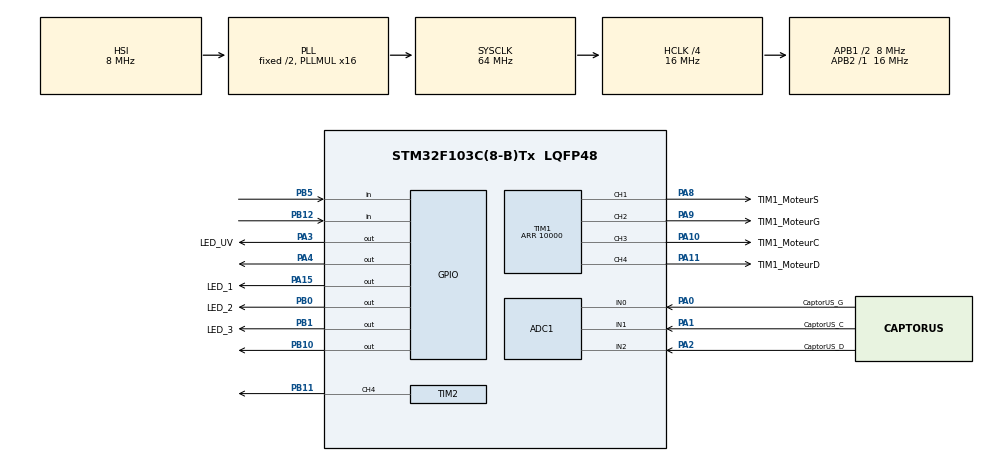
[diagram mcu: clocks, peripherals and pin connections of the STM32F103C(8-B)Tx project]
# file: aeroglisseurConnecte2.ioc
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ADC1.Channel-2\#ChannelRegularConversion=ADC_CHANNEL_0
ADC1.ContinuousConvMode=ENABLE
ADC1.NbrOfConversion=2
ADC1.NbrOfConversionFlag=1
ADC1.Rank-2\#ChannelRegularConversion=2
ADC1.SamplingTime-0\#ChannelRegularConversion=ADC_SAMPLETIME_239CYCLES_5
ADC1.SamplingTime-2\#ChannelRegularConversion=ADC_SAMPLETIME_239CYCLES_5
ADC1.master=1
Dma.ADC1.0.Direction=DMA_PERIPH_TO_MEMORY
Dma.ADC1.0.Instance=DMA1_Channel1
Dma.ADC1.0.MemDataAlignment=DMA_MDATAALIGN_WORD
Dma.ADC1.0.MemInc=DMA_MINC_ENABLE
Dma.ADC1.0.Mode=DMA_CIRCULAR
Dma.ADC1.0.PeriphDataAlignment=DMA_PDATAALIGN_WORD
Dma.ADC1.0.PeriphInc=DMA_PINC_DISABLE
Dma.ADC1.0.Priority=DMA_PRIORITY_LOW
Dma.Request0=ADC1
Mcu.Family=STM32F1
Mcu.Name=STM32F103C(8-B)Tx
Mcu.Package=LQFP48
NVIC.DMA1_Channel1_IRQn=true\:0\:0\:false\:false\:true\:false
NVIC.PriorityGroup=NVIC_PRIORITYGROUP_4
PA0-WKUP.GPIO_Label=CaptorUS_G
PA0-WKUP.GPIO_Mode=GPIO_MODE_ANALOG
PA0-WKUP.Signal=ADCx_IN0
PA1.GPIO_Label=CaptorUS_C
PA1.GPIO_Mode=GPIO_MODE_ANALOG
PA1.Signal=ADCx_IN1
PA10.GPIO_Label=TIM1_MoteurC
PA10.GPIO_ModeDefaultPP=GPIO_MODE_AF_PP
PA10.GPIO_Speed=GPIO_SPEED_FREQ_LOW
PA10.Signal=S_TIM1_CH3
PA11.GPIO_Label=TIM1_MoteurD
PA11.GPIO_ModeDefaultPP=GPIO_MODE_AF_PP
PA11.GPIO_Speed=GPIO_SPEED_FREQ_LOW
PA11.Signal=S_TIM1_CH4
PA13.Mode=Serial_Wire
PA13.Signal=SYS_JTMS-SWDIO
PA14.Mode=Serial_Wire
PA14.Signal=SYS_JTCK-SWCLK
PA15.GPIO_Label=LED_1
PA15.GPIO_ModeDefaultOutputPP=GPIO_MODE_OUTPUT_PP
PA15.GPIO_Speed=GPIO_SPEED_FREQ_LOW
PA15.PinState=GPIO_PIN_RESET
PA15.Signal=GPIO_Output
PA2.GPIO_Label=CaptorUS_D
PA2.GPIO_Mode=GPIO_MODE_ANALOG
PA2.Signal=ADCx_IN2
PA3.GPIO_Label=LED_UV
PA3.GPIO_ModeDefaultOutputPP=GPIO_MODE_OUTPUT_PP
PA3.GPIO_Speed=GPIO_SPEED_FREQ_LOW
PA3.PinState=GPIO_PIN_RESET
PA3.Signal=GPIO_Output
PA4.GPIO_ModeDefaultOutputPP=GPIO_MODE_OUTPUT_PP
PA4.GPIO_Speed=GPIO_SPEED_FREQ_LOW
PA4.PinState=GPIO_PIN_RESET
PA4.Signal=GPIO_Output
PA5.GPIO_Mode=GPIO_MODE_AF_PP
PA5.GPIO_Speed=GPIO_SPEED_FREQ_HIGH
PA5.Signal=SPI1_SCK
PA6.GPIO_Mode=GPIO_MODE_AF_PP
PA6.GPIO_Speed=GPIO_SPEED_FREQ_HIGH
PA6.Signal=SPI1_MISO
PA7.GPIO_Mode=GPIO_MODE_AF_PP
PA7.GPIO_Speed=GPIO_SPEED_FREQ_HIGH
PA7.Signal=SPI1_MOSI
PA8.GPIO_Label=TIM1_MoteurS
PA8.GPIO_ModeDefaultPP=GPIO_MODE_AF_PP
PA8.GPIO_Speed=GPIO_SPEED_FREQ_LOW
PA8.Signal=S_TIM1_CH1
PA9.GPIO_Label=TIM1_MoteurG
PA9.GPIO_ModeDefaultPP=GPIO_MODE_AF_PP
PA9.GPIO_Speed=GPIO_SPEED_FREQ_LOW
PA9.Signal=S_TIM1_CH2
PB0.GPIO_Label=LED_2
PB0.GPIO_ModeDefaultOutputPP=GPIO_MODE_OUTPUT_PP
PB0.GPIO_Speed=GPIO_SPEED_FREQ_LOW
PB0.PinState=GPIO_PIN_RESET
PB0.Signal=GPIO_Output
PB1.GPIO_Label=LED_3
PB1.GPIO_ModeDefaultOutputPP=GPIO_MODE_OUTPUT_PP
PB1.GPIO_Speed=GPIO_SPEED_FREQ_LOW
PB1.PinState=GPIO_PIN_RESET
PB1.Signal=GPIO_Output
PB10.Signal=GPIO_Output
PB11.GPIO_ModeDefaultPP=GPIO_MODE_AF_PP
PB11.GPIO_Speed=GPIO_SPEED_FREQ_LOW
PB11.Signal=S_TIM2_CH4
PB12.Signal=GPIO_Input
PB5.Signal=GPIO_Input
PB8.Signal=I2C1_SCL
PB9.Signal=I2C1_SDA
PD0-OSC_IN.Mode=HSE-External-Oscillator
PD0-OSC_IN.Signal=RCC_OSC_IN
PD1-OSC_OUT.Mode=HSE-External-Oscillator
PD1-OSC_OUT.Signal=RCC_OSC_OUT
ProjectManager.HeapSize=0x200
ProjectManager.StackSize=0x400
ProjectManager.TargetToolchain=SW4STM32
RCC.AHBCLKDivider=RCC_SYSCLK_DIV4
RCC.AHBFreq_Value=16000000
RCC.APB1CLKDivider=RCC_HCLK_DIV2
RCC.APB1Freq_Value=8000000
RCC.APB1TimFreq_Value=16000000
RCC.APB2Freq_Value=16000000
RCC.APB2TimFreq_Value=16000000
RCC.HCLKFreq_Value=16000000
RCC.PLLMUL=RCC_PLL_MUL16
RCC.SYSCLKFreq_VALUE=64000000
RCC.SYSCLKSource=RCC_SYSCLKSOURCE_PLLCLK
RCC.USBFreq_Value=64000000
SH.ADCx_IN0.0=ADC1_IN0,IN0
SH.ADCx_IN1.0=ADC1_IN1,IN1
SH.ADCx_IN2.0=ADC1_IN2,IN2
SH.S_TIM1_CH1.0=TIM1_CH1,PWM Generation1 CH1
SH.S_TIM1_CH2.0=TIM1_CH2,PWM Generation2 CH2
SH.S_TIM1_CH3.0=TIM1_CH3,PWM Generation3 CH3
SH.S_TIM1_CH4.0=TIM1_CH4,PWM Generation4 CH4
SH.S_TIM2_CH4.0=TIM2_CH4,PWM Generation4 CH4
TIM1.Channel-PWM\ Generation1\ CH1=TIM_CHANNEL_1
TIM1.Channel-PWM\ Generation2\ CH2=TIM_CHANNEL_2
TIM1.Channel-PWM\ Generation3\ CH3=TIM_CHANNEL_3
TIM1.Channel-PWM\ Generation4\ CH4=TIM_CHANNEL_4
TIM1.Period=10000
TIM1.Pulse-PWM\ Generation1\ CH1=1000
TIM1.Pulse-PWM\ Generation2\ CH2=1000
TIM1.Pulse-PWM\ Generation3\ CH3=1000
TIM1.Pulse-PWM\ Generation4\ CH4=1000
TIM2.Channel-PWM\ Generation4\ CH4=TIM_CHANNEL_4
TIM2.Period=10000
TIM2.Pulse-PWM\ Generation4\ CH4=1000
board=aeroglisseurConnecte2

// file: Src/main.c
/**
  ******************************************************************************
  * @file           : main.c
  * @brief          : Main program body
  ******************************************************************************
#include "main.h"
#include "stm32f1xx_hal.h"

/* USER CODE BEGIN Includes */
#include "stdio.h"

/* USER CODE END Includes */

ADC_HandleTypeDef hadc1;
DMA_HandleTypeDef hdma_adc1;

TIM_HandleTypeDef htim1;
TIM_HandleTypeDef htim2;

/* USER CODE BEGIN PV */
/* Private variables ---------------------------------------------------------*/

/* USER CODE END PV */

void SystemClock_Config(void);
static void MX_GPIO_Init(void);
static void MX_DMA_Init(void);
static void MX_ADC1_Init(void);
static void MX_TIM1_Init(void);
static void MX_TIM2_Init(void);

void HAL_TIM_MspPostInit(TIM_HandleTypeDef *htim);

/* USER CODE BEGIN PFP */
/* Private function prototypes -----------------------------------------------*/

/* USER CODE END PFP */

/* USER CODE BEGIN 0 */

uint32_t g_ADCValue, value[2],adc_buffer[2],read_values[2];
int g_MeasurementNumber;

void HAL_ADC_ConvCpltCallback(ADC_HandleTypeDef* hadc)
{
	if (hadc->Instance == ADC1)
	{
		for (int i = 0; i<2; i++){

			value[i] = adc_buffer[i];

		}
	}
}

/* USER CODE END 0 */

int main(void)
{

  /* MCU Configuration----------------------------------------------------------*/

  /* Reset of all peripherals, Initializes the Flash interface and the Systick. */
  HAL_Init();

  /* Configure the system clock */
  SystemClock_Config();

  /* Initialize all configured peripherals */
  MX_GPIO_Init();
  MX_DMA_Init();
  MX_ADC1_Init();
  MX_TIM1_Init();
  MX_TIM2_Init();
  /* USER CODE BEGIN 2 */

  /*************** Init Timo ***************/
	  /**
	   * Start des timers 1 & 2 avec PWM
	   *
	   * PWM sur 10 000 steps = compteur (CCR) se réinitialise quand la valeur est atteinte
	   * valeur réglable en dynamique via __HAL_TIM_SET_COMPARE(&htim1, TIM_CHANNEL_ALL, duty_moteurs);
	   *
	   * 1000 = 10%
	   * 5000 = 50%
	   */

		int duty_moteurs = 0;		//0% au démarrage

		//Init des PWM moteurs (PA8-9-10-11) à 0%
		HAL_TIM_Base_Start(&htim1);
		HAL_TIM_PWM_Start(&htim1,TIM_CHANNEL_1);
		__HAL_TIM_SET_COMPARE(&htim1, TIM_CHANNEL_1, duty_moteurs);		//PA8
		HAL_TIM_Base_Start(&htim1);
		HAL_TIM_PWM_Start(&htim1,TIM_CHANNEL_2);
		__HAL_TIM_SET_COMPARE(&htim1, TIM_CHANNEL_2, duty_moteurs);		//PA9
		HAL_TIM_Base_Start(&htim1);
		HAL_TIM_PWM_Start(&htim1,TIM_CHANNEL_3);
		__HAL_TIM_SET_COMPARE(&htim1, TIM_CHANNEL_3, duty_moteurs);
		HAL_TIM_Base_Start(&htim1);
		HAL_TIM_PWM_Start(&htim1,TIM_CHANNEL_4);
		__HAL_TIM_SET_COMPARE(&htim1, TIM_CHANNEL_4, duty_moteurs);

		//Init PWM trigger capteurs US à 1%, pas besoin d'y toucher
		HAL_TIM_Base_Start(&htim2);
		HAL_TIM_PWM_Start(&htim2,TIM_CHANNEL_4);
		__HAL_TIM_SET_COMPARE(&htim2, TIM_CHANNEL_4, 100);	//100 = 1%

  	/*************** Fin Init Timo ***************/

  /* USER CODE END 2 */

  /* Infinite loop */
  /* USER CODE BEGIN WHILE */
  while (1)
  {

	  /********* Code Timo *********/

		  if(HAL_GPIO_ReadPin(GPIOB, GPIO_PIN_12) == 0){	//si appui bouton

			  duty_moteurs = 10000;	//rapport cyclique
			  HAL_GPIO_WritePin(GPIOB, LED_2_Pin, SET);	//led ON
			  __HAL_TIM_SET_COMPARE(&htim1, TIM_CHANNEL_1, duty_moteurs);
			  __HAL_TIM_SET_COMPARE(&htim1, TIM_CHANNEL_2, duty_moteurs);
			  __HAL_TIM_SET_COMPARE(&htim1, TIM_CHANNEL_3, duty_moteurs);
			  __HAL_TIM_SET_COMPARE(&htim1, TIM_CHANNEL_4, duty_moteurs);

		  }else{

			  HAL_GPIO_WritePin(GPIOB, LED_2_Pin, RESET);	//led OFF
			  __HAL_TIM_SET_COMPARE(&htim1, TIM_CHANNEL_1, 0);
			  __HAL_TIM_SET_COMPARE(&htim1, TIM_CHANNEL_2, 0);
			  __HAL_TIM_SET_COMPARE(&htim1, TIM_CHANNEL_3, 0);
			  __HAL_TIM_SET_COMPARE(&htim1, TIM_CHANNEL_4, 0);
		  }

	  /********* Fin Code Timo *********/

  /* USER CODE END WHILE */

  /* USER CODE BEGIN 3 */

	  HAL_GPIO_TogglePin(GPIOA, LED_1_Pin);
	  	  //HAL_Delay(1000);

	  		for( int i=0; i<2 ; i++){

	  			read_values[i] = value[i];
	  		}

  }
  /* USER CODE END 3 */

}

void SystemClock_Config(void)
{

  RCC_OscInitTypeDef RCC_OscInitStruct;
  RCC_ClkInitTypeDef RCC_ClkInitStruct;
  RCC_PeriphCLKInitTypeDef PeriphClkInit;

    /**Initializes the CPU, AHB and APB busses clocks
    */
  RCC_OscInitStruct.OscillatorType = RCC_OSCILLATORTYPE_HSI;
  RCC_OscInitStruct.HSIState = RCC_HSI_ON;
  RCC_OscInitStruct.HSICalibrationValue = 16;
  RCC_OscInitStruct.PLL.PLLState = RCC_PLL_ON;
  RCC_OscInitStruct.PLL.PLLSource = RCC_PLLSOURCE_HSI_DIV2;
  RCC_OscInitStruct.PLL.PLLMUL = RCC_PLL_MUL16;
  if (HAL_RCC_OscConfig(&RCC_OscInitStruct) != HAL_OK)
  {
    _Error_Handler(__FILE__, __LINE__);
  }

    /**Initializes the CPU, AHB and APB busses clocks
    */
  RCC_ClkInitStruct.ClockType = RCC_CLOCKTYPE_HCLK|RCC_CLOCKTYPE_SYSCLK
                              |RCC_CLOCKTYPE_PCLK1|RCC_CLOCKTYPE_PCLK2;
  RCC_ClkInitStruct.SYSCLKSource = RCC_SYSCLKSOURCE_PLLCLK;
  RCC_ClkInitStruct.AHBCLKDivider = RCC_SYSCLK_DIV4;
  RCC_ClkInitStruct.APB1CLKDivider = RCC_HCLK_DIV2;
  RCC_ClkInitStruct.APB2CLKDivider = RCC_HCLK_DIV1;

  if (HAL_RCC_ClockConfig(&RCC_ClkInitStruct, FLASH_LATENCY_2) != HAL_OK)
  {
    _Error_Handler(__FILE__, __LINE__);
  }

  PeriphClkInit.PeriphClockSelection = RCC_PERIPHCLK_ADC;
  PeriphClkInit.AdcClockSelection = RCC_ADCPCLK2_DIV2;
  if (HAL_RCCEx_PeriphCLKConfig(&PeriphClkInit) != HAL_OK)
  {
    _Error_Handler(__FILE__, __LINE__);
  }

    /**Configure the Systick interrupt time
    */
  HAL_SYSTICK_Config(HAL_RCC_GetHCLKFreq()/1000);

    /**Configure the Systick
    */
  HAL_SYSTICK_CLKSourceConfig(SYSTICK_CLKSOURCE_HCLK);

  /* SysTick_IRQn interrupt configuration */
  HAL_NVIC_SetPriority(SysTick_IRQn, 0, 0);
}

/* ADC1 init function */
static void MX_ADC1_Init(void)
{

  ADC_ChannelConfTypeDef sConfig;

    /**Common config
    */
  hadc1.Instance = ADC1;
  hadc1.Init.ScanConvMode = ADC_SCAN_ENABLE;
  hadc1.Init.ContinuousConvMode = ENABLE;
  hadc1.Init.DiscontinuousConvMode = DISABLE;
  hadc1.Init.ExternalTrigConv = ADC_SOFTWARE_START;
  hadc1.Init.DataAlign = ADC_DATAALIGN_RIGHT;
  hadc1.Init.NbrOfConversion = 2;
  if (HAL_ADC_Init(&hadc1) != HAL_OK)
  {
    _Error_Handler(__FILE__, __LINE__);
  }

    /**Configure Regular Channel
    */
  sConfig.Channel = ADC_CHANNEL_0;
  sConfig.Rank = ADC_REGULAR_RANK_2;
  sConfig.SamplingTime = ADC_SAMPLETIME_239CYCLES_5;
  if (HAL_ADC_ConfigChannel(&hadc1, &sConfig) != HAL_OK)
  {
    _Error_Handler(__FILE__, __LINE__);
  }

    /**Configure Regular Channel
    */
  sConfig.Rank = ADC_REGULAR_RANK_1;
  if (HAL_ADC_ConfigChannel(&hadc1, &sConfig) != HAL_OK)
  {
    _Error_Handler(__FILE__, __LINE__);
  }

}

/* TIM1 init function */
static void MX_TIM1_Init(void)
{

  TIM_MasterConfigTypeDef sMasterConfig;
  TIM_OC_InitTypeDef sConfigOC;
  TIM_BreakDeadTimeConfigTypeDef sBreakDeadTimeConfig;

  htim1.Instance = TIM1;
  htim1.Init.Prescaler = 0;
  htim1.Init.CounterMode = TIM_COUNTERMODE_UP;
  htim1.Init.Period = 10000;
  htim1.Init.ClockDivision = TIM_CLOCKDIVISION_DIV1;
  htim1.Init.RepetitionCounter = 0;
  htim1.Init.AutoReloadPreload = TIM_AUTORELOAD_PRELOAD_DISABLE;
  if (HAL_TIM_PWM_Init(&htim1) != HAL_OK)
  {
    _Error_Handler(__FILE__, __LINE__);
  }

  sMasterConfig.MasterOutputTrigger = TIM_TRGO_RESET;
  sMasterConfig.MasterSlaveMode = TIM_MASTERSLAVEMODE_DISABLE;
  if (HAL_TIMEx_MasterConfigSynchronization(&htim1, &sMasterConfig) != HAL_OK)
  {
    _Error_Handler(__FILE__, __LINE__);
  }

  sConfigOC.OCMode = TIM_OCMODE_PWM1;
  sConfigOC.Pulse = 1000;
  sConfigOC.OCPolarity = TIM_OCPOLARITY_HIGH;
  sConfigOC.OCNPolarity = TIM_OCNPOLARITY_HIGH;
  sConfigOC.OCFastMode = TIM_OCFAST_DISABLE;
  sConfigOC.OCIdleState = TIM_OCIDLESTATE_RESET;
  sConfigOC.OCNIdleState = TIM_OCNIDLESTATE_RESET;
  if (HAL_TIM_PWM_ConfigChannel(&htim1, &sConfigOC, TIM_CHANNEL_1) != HAL_OK)
  {
    _Error_Handler(__FILE__, __LINE__);
  }

  if (HAL_TIM_PWM_ConfigChannel(&htim1, &sConfigOC, TIM_CHANNEL_2) != HAL_OK)
  {
    _Error_Handler(__FILE__, __LINE__);
  }

  if (HAL_TIM_PWM_ConfigChannel(&htim1, &sConfigOC, TIM_CHANNEL_3) != HAL_OK)
  {
    _Error_Handler(__FILE__, __LINE__);
  }

  if (HAL_TIM_PWM_ConfigChannel(&htim1, &sConfigOC, TIM_CHANNEL_4) != HAL_OK)
  {
    _Error_Handler(__FILE__, __LINE__);
  }

  sBreakDeadTimeConfig.OffStateRunMode = TIM_OSSR_DISABLE;
  sBreakDeadTimeConfig.OffStateIDLEMode = TIM_OSSI_DISABLE;
  sBreakDeadTimeConfig.LockLevel = TIM_LOCKLEVEL_OFF;
  sBreakDeadTimeConfig.DeadTime = 0;
  sBreakDeadTimeConfig.BreakState = TIM_BREAK_DISABLE;
  sBreakDeadTimeConfig.BreakPolarity = TIM_BREAKPOLARITY_HIGH;
  sBreakDeadTimeConfig.AutomaticOutput = TIM_AUTOMATICOUTPUT_DISABLE;
  if (HAL_TIMEx_ConfigBreakDeadTime(&htim1, &sBreakDeadTimeConfig) != HAL_OK)
  {
    _Error_Handler(__FILE__, __LINE__);
  }

  HAL_TIM_MspPostInit(&htim1);

}

/* TIM2 init function */
static void MX_TIM2_Init(void)
{

  TIM_MasterConfigTypeDef sMasterConfig;
  TIM_OC_InitTypeDef sConfigOC;

  htim2.Instance = TIM2;
  htim2.Init.Prescaler = 150; //7199; //0
  htim2.Init.CounterMode = TIM_COUNTERMODE_UP;
  htim2.Init.Period = 10000;
  htim2.Init.ClockDivision = TIM_CLOCKDIVISION_DIV1;
  htim2.Init.AutoReloadPreload = 132; //0
  if (HAL_TIM_PWM_Init(&htim2) != HAL_OK)
  {
    _Error_Handler(__FILE__, __LINE__);
  }

  sMasterConfig.MasterOutputTrigger = TIM_TRGO_RESET;
  sMasterConfig.MasterSlaveMode = TIM_MASTERSLAVEMODE_DISABLE;
  if (HAL_TIMEx_MasterConfigSynchronization(&htim2, &sMasterConfig) != HAL_OK)
  {
    _Error_Handler(__FILE__, __LINE__);
  }

  sConfigOC.OCMode = TIM_OCMODE_PWM1;
  sConfigOC.Pulse = 1000;
  sConfigOC.OCPolarity = TIM_OCPOLARITY_HIGH;
  sConfigOC.OCFastMode = TIM_OCFAST_DISABLE;
  if (HAL_TIM_PWM_ConfigChannel(&htim2, &sConfigOC, TIM_CHANNEL_4) != HAL_OK)
  {
    _Error_Handler(__FILE__, __LINE__);
  }

  HAL_TIM_MspPostInit(&htim2);

}

static void MX_DMA_Init(void)
{
  /* DMA controller clock enable */
  __HAL_RCC_DMA1_CLK_ENABLE();

  /* DMA interrupt init */
  /* DMA1_Channel1_IRQn interrupt configuration */
  HAL_NVIC_SetPriority(DMA1_Channel1_IRQn, 0, 0);
  HAL_NVIC_EnableIRQ(DMA1_Channel1_IRQn);

}

/** Configure pins as
        * Analog
        * Input
        * Output
        * EVENT_OUT
        * EXTI
     PA5   ------> SPI1_SCK
     PA6   ------> SPI1_MISO
     PA7   ------> SPI1_MOSI
     PB8   ------> I2C1_SCL
     PB9   ------> I2C1_SDA
*/
static void MX_GPIO_Init(void)
{

  GPIO_InitTypeDef GPIO_InitStruct;

  /* GPIO Ports Clock Enable */
  __HAL_RCC_GPIOD_CLK_ENABLE();
  __HAL_RCC_GPIOA_CLK_ENABLE();
  __HAL_RCC_GPIOB_CLK_ENABLE();

  /*Configure GPIO pin Output Level */
  HAL_GPIO_WritePin(GPIOA, LED_UV_Pin|GPIO_PIN_4|LED_1_Pin, GPIO_PIN_RESET);

  /*Configure GPIO pin Output Level */
  HAL_GPIO_WritePin(GPIOB, LED_2_Pin|LED_3_Pin|GPIO_PIN_10, GPIO_PIN_RESET);

  /*Configure GPIO pins : LED_UV_Pin PA4 LED_1_Pin */
  GPIO_InitStruct.Pin = LED_UV_Pin|GPIO_PIN_4|LED_1_Pin;
  GPIO_InitStruct.Mode = GPIO_MODE_OUTPUT_PP;
  GPIO_InitStruct.Speed = GPIO_SPEED_FREQ_LOW;
  HAL_GPIO_Init(GPIOA, &GPIO_InitStruct);

  /*Configure GPIO pins : PA5 PA6 PA7 */
  GPIO_InitStruct.Pin = GPIO_PIN_5|GPIO_PIN_6|GPIO_PIN_7;
  GPIO_InitStruct.Mode = GPIO_MODE_AF_PP;
  GPIO_InitStruct.Speed = GPIO_SPEED_FREQ_HIGH;
  HAL_GPIO_Init(GPIOA, &GPIO_InitStruct);

  /*Configure GPIO pins : LED_2_Pin LED_3_Pin PB10 */
  GPIO_InitStruct.Pin = LED_2_Pin|LED_3_Pin|GPIO_PIN_10;
  GPIO_InitStruct.Mode = GPIO_MODE_OUTPUT_PP;
  GPIO_InitStruct.Speed = GPIO_SPEED_FREQ_LOW;
  HAL_GPIO_Init(GPIOB, &GPIO_InitStruct);

  /*Configure GPIO pins : PB12 PB5 */
  GPIO_InitStruct.Pin = GPIO_PIN_12|GPIO_PIN_5;
  GPIO_InitStruct.Mode = GPIO_MODE_INPUT;
  GPIO_InitStruct.Pull = GPIO_NOPULL;
  HAL_GPIO_Init(GPIOB, &GPIO_InitStruct);

  /*Configure GPIO pins : PB8 PB9 */
  GPIO_InitStruct.Pin = GPIO_PIN_8|GPIO_PIN_9;
  GPIO_InitStruct.Mode = GPIO_MODE_AF_OD;
  GPIO_InitStruct.Speed = GPIO_SPEED_FREQ_HIGH;
  HAL_GPIO_Init(GPIOB, &GPIO_InitStruct);

  /*Configure peripheral I/O remapping */
  __HAL_AFIO_REMAP_I2C1_ENABLE();

}

void _Error_Handler(char *file, int line)
{
  while(1)
  {
  }
}

/************************ (C) COPYRIGHT STMicroelectronics *****END OF FILE****/
